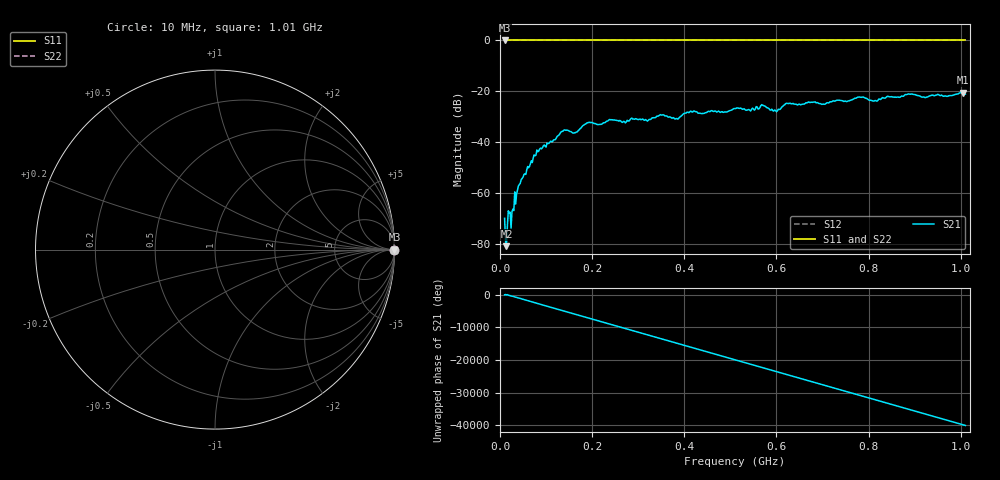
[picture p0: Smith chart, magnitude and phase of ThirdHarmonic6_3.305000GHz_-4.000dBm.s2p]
! 8/17/2025 10:18:49 AM
! C:\ANRITSUVNA\TEMP\TEMP.S2P
! CHANNEL.1
! TR.MEASUREMENT
! RAW.DATA
! RF.CORRECTION.OFF
! AVERAGING.OFF
! IF.BANDWIDTH: 5KHZ
! SWEEPTYPE:  FREQ.SWEEP(Linear)
! Reference Plane Port Info
! PORT:  PORT1  PORT2
! DISTANCE:  0  m  0  m
! TIME:  0  s  0  s
! PHASE.OFFSET:  0  deg.  0  deg.
! LOSS:  0  dB  0  dB
! REF.LOSS:  0  dB  0  dB
! REF.FREQ:  0  Hz  0  Hz
! Power Info
! POWER:  -20  dBm  -20  dBm
! EFF.POWER:  -20  dBm  -20  dBm
! SOURCE.ATTEN:  0  dB  0  dB
! TEST.ATTEN:  0  dB  0  dB
# GHZ S RI R 50.0
! FREQ.GHZ  S11RE  S11IM  S21RE  S21IM  S12RE  S12IM  S22RE  S22IM
!; PortSelection: Port_12
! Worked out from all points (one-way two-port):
!   501 points, 10 MHz to 1.01 GHz, reference 50 ohm
!   highest |S21| = -20.48 dB at 1.004 GHz (marker M1); lowest = -80.7 dB at 14 MHz (marker M2)
!   lowest |S11| = 0.0 dB at 10 MHz (marker M3)
!   |S11| at or under -10 dB: nowhere
!   |S22| runs from 0.0 to 0.0 dB; largest |S21 - S12| = 1.1
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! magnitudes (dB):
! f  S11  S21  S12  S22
! 10 MHz  0.0  -69.8  0.0  0.0
! 14 MHz  0.0  -80.7  0.0  0.0
! 22 MHz  0.0  -67.4  0.0  0.0
! 26 MHz  0.0  -67.2  0.0  0.0
! 42 MHz  0.0  -56.5  0.0  0.0
! 78 MHz  0.0  -45.0  0.0  0.0
! 136 MHz  0.0  -35.7  0.0  0.0
! 162 MHz  0.0  -36.2  0.0  0.0
! 178 MHz  0.0  -33.8  0.0  0.0
! 344 MHz  0.0  -29.6  0.0  0.0
! 384 MHz  0.0  -30.6  0.0  0.0
! 410 MHz  0.0  -28.4  0.0  0.0
! 510 MHz  0.0  -26.7  0.0  0.0
! 570 MHz  0.0  -25.5  0.0  0.0
! 598 MHz  0.0  -27.5  0.0  0.0
! 624 MHz  0.0  -24.7  0.0  0.0
! 678 MHz  0.0  -24.3  0.0  0.0
! 780 MHz  0.0  -22.2  0.0  0.0
! 814 MHz  0.0  -23.6  0.0  0.0
! 844 MHz  0.0  -22.0  0.0  0.0
! 1.004 GHz  0.0  -20.5  0.0  0.0
! 1.01 GHz  0.0  -21.1  0.0  0.0
